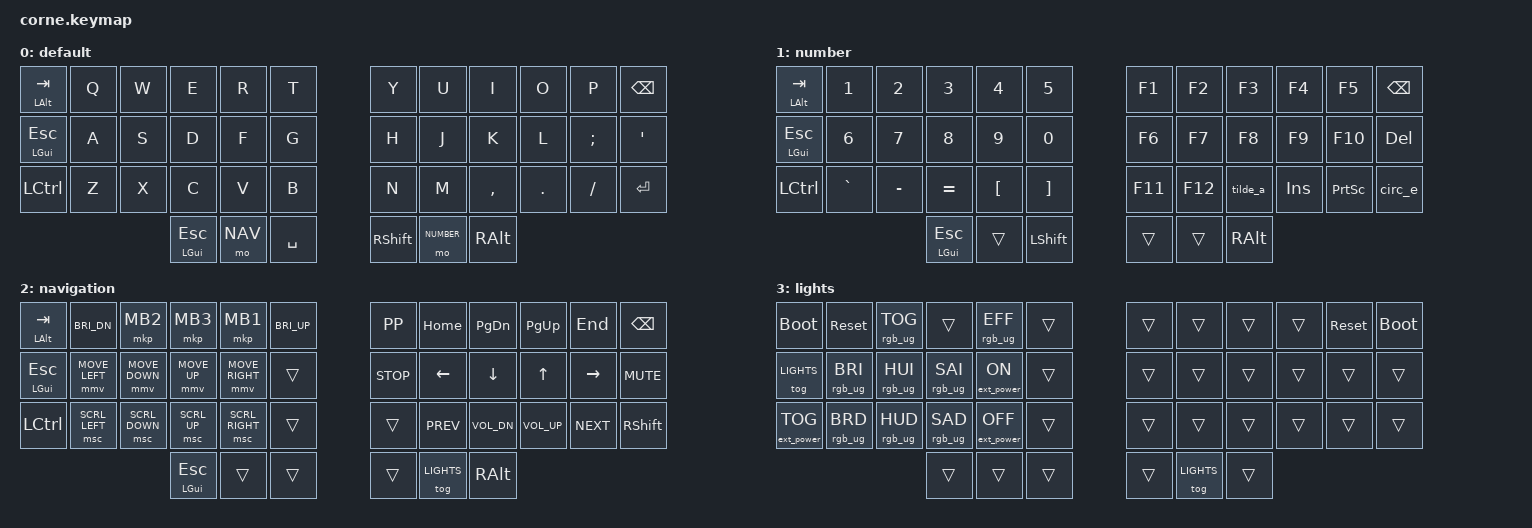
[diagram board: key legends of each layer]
/*
 * Copyright (c) 2020 The ZMK Contributors
 *
 * SPDX-License-Identifier: MIT
 */

// Layers

#define DEFAULT 0
#define NUMBER  1
#define NAV     2
#define LIGHTS  3

#include <behaviors.dtsi>
#include <dt-bindings/zmk/bt.h>
#include <dt-bindings/zmk/ext_power.h>
#include <dt-bindings/zmk/keys.h>
#include <dt-bindings/zmk/mouse.h>
#include <dt-bindings/zmk/rgb.h>

&sk { /delete-property/ ignore-modifiers; };

/ {
    tilde_a: tilde_a_macro {
        compatible = "zmk,behavior-macro";
        label = "TILDE_A";
        #binding-cells = <0>;
        bindings = <&kp RA(LS(GRAVE)) &kp A>;
    };

    tilde_o: tilde_o_macro {
        compatible = "zmk,behavior-macro";
        label = "TILDE_O";
        #binding-cells = <0>;
        bindings = <&kp RA(LS(GRAVE)) &kp O>;
    };

    circ_a: circ_a_macro {
        compatible = "zmk,behavior-macro";
        label = "CIRC_A";
        #binding-cells = <0>;
        bindings = <&kp RA(LS(N6)) &kp A>;
    };

    circ_e: circ_e_macro {
        compatible = "zmk,behavior-macro";
        label = "CIRC_E";
        #binding-cells = <0>;
        bindings = <&kp RA(LS(N6)) &kp E>;
    };

    circ_o: circ_o_macro {
        compatible = "zmk,behavior-macro";
        label = "CIRC_O";
        #binding-cells = <0>;
        bindings = <&kp RA(LS(N6)) &kp O>;
    };

    /*
      KEY POSITIONS
      ╭────────────────────────╮  ╭────────────────────────╮
      │ 0   1   2   3   4   5  │  │ 6   7   8   9   10  11 │
      │ 12  13  14  15  16  17 │  │ 18  19  20  21  22  23 │
      │ 24  25  26  27  28  29 │  │ 30  31  32  33  34  35 │
      ╰───────────╮ 36  37  38 │  │ 39  40  41 ╭───────────╯
                  ╰────────────╯  ╰────────────╯
    */
    combos {
        compatible = "zmk,combos";

        a_acute {
            bindings = <&kp RA(A)>;
            key-positions = <13 26>;
            layers = <0>;
        };

        e_acute {
            bindings = <&kp RA(E)>;
            key-positions = <3 16>;
            layers = <0>;
        };

        i_acute {
            bindings = <&kp RA(I)>;
            key-positions = <8 21>;
            layers = <0>;
        };

        o_acute {
            bindings = <&kp RA(O)>;
            key-positions = <9 10>;
            layers = <0>;
        };

        u_acute {
            bindings = <&kp RA(U)>;
            key-positions = <7 20>;
            layers = <0>;
        };

        a_umlaut {
            bindings = <&kp RA(Q)>;
            key-positions = <13 25>;
            layers = <0>;
        };

        o_umlaut {
            bindings = <&kp RA(P)>;
            key-positions = <9 33>;
            layers = <0>;
        };

        u_umlaut {
            bindings = <&kp RA(Y)>;
            key-positions = <7 21>;
            layers = <0>;
        };

        c_cedilla {
            bindings = <&kp RA(COMMA)>;
            key-positions = <27 32>;
            layers = <0>;
        };

        // Symbol combos on the base layer (Erick Wendel's roBa scheme):
        // vertical top+home column pairs, left hand ! @ # $ %, right hand ^ & * ( )
        cb_excl {
            bindings = <&kp EXCL>;
            key-positions = <1 13>;
            layers = <0>;
            timeout-ms = <30>;
        };

        cb_at {
            bindings = <&kp AT>;
            key-positions = <2 14>;
            layers = <0>;
            timeout-ms = <30>;
        };

        cb_hash {
            bindings = <&kp HASH>;
            key-positions = <3 15>;
            layers = <0>;
            timeout-ms = <30>;
        };

        cb_dllr {
            bindings = <&kp DOLLAR>;
            key-positions = <4 16>;
            layers = <0>;
            timeout-ms = <30>;
        };

        cb_prcnt {
            bindings = <&kp PERCENT>;
            key-positions = <5 17>;
            layers = <0>;
            timeout-ms = <30>;
        };

        cb_caret {
            bindings = <&kp CARET>;
            key-positions = <6 18>;
            layers = <0>;
            timeout-ms = <30>;
        };

        cb_amps {
            bindings = <&kp AMPERSAND>;
            key-positions = <7 19>;
            layers = <0>;
            timeout-ms = <30>;
        };

        cb_star {
            bindings = <&kp STAR>;
            key-positions = <8 20>;
            layers = <0>;
            timeout-ms = <30>;
        };

        cb_lpar {
            bindings = <&kp LPAR>;
            key-positions = <9 21>;
            layers = <0>;
            timeout-ms = <30>;
        };

        cb_rpar {
            bindings = <&kp RPAR>;
            key-positions = <10 22>;
            layers = <0>;
            timeout-ms = <30>;
        };

        excl {
            bindings = <&kp EXCL>;
            key-positions = <1 13>;
            layers = <1>;
        };

        at {
            bindings = <&kp AT>;
            key-positions = <2 14>;
            layers = <1>;
        };

        hash {
            bindings = <&kp HASH>;
            key-positions = <3 15>;
            layers = <1>;
        };

        dollar {
            bindings = <&kp DOLLAR>;
            key-positions = <4 16>;
            layers = <1>;
        };

        percent {
            bindings = <&kp PERCENT>;
            key-positions = <17 5>;
            layers = <1>;
        };

        caret {
            bindings = <&kp CARET>;
            key-positions = <13 25>;
            layers = <1>;
        };

        ampersand {
            bindings = <&kp AMPERSAND>;
            key-positions = <26 14>;
            layers = <1>;
        };

        star {
            bindings = <&kp STAR>;
            key-positions = <27 15>;
            layers = <1>;
        };

        lpar {
            bindings = <&kp LPAR>;
            key-positions = <28 16>;
            layers = <1>;
        };

        rpar {
            bindings = <&kp RPAR>;
            key-positions = <17 29>;
            layers = <1>;
        };

        backslash {
            bindings = <&kp BACKSLASH>;
            key-positions = <28 29>;
            layers = <1>;
            timeout-ms = <50>;
        };

        bt_clear {
            bindings = <&bt BT_CLR>;
            key-positions = <7 8 9 10>;
            layers = <1>;
        };

        bt_sel_0 {
            bindings = <&bt BT_SEL 0>;
            key-positions = <6 18>;
            layers = <1>;
        };

        bt_sel_1 {
            bindings = <&bt BT_SEL 1>;
            key-positions = <7 19>;
            layers = <1>;
        };

        bt_sel_2 {
            bindings = <&bt BT_SEL 2>;
            key-positions = <20 8>;
            layers = <1>;
        };

        bt_sel_3 {
            bindings = <&bt BT_SEL 3>;
            key-positions = <9 21>;
            layers = <1>;
        };

        bt_sel_4 {
            bindings = <&bt BT_SEL 4>;
            key-positions = <10 22>;
            layers = <1>;
        };

        undo {
            bindings = <&kp K_UNDO>;
            key-positions = <18 19>;
            layers = <1>;
        };

        copy {
            bindings = <&kp K_COPY>;
            key-positions = <19 20>;
            layers = <1>;
        };

        cut {
            bindings = <&kp K_CUT>;
            key-positions = <20 21>;
            layers = <1>;
        };

        redo {
            bindings = <&kp K_REDO>;
            key-positions = <21 22>;
            layers = <1>;
        };

        combo_tilde_a {
            timeout-ms = <50>;
            key-positions = <13 27>;
            bindings = <&tilde_a>;
        };

        combo_tilde_o {
            timeout-ms = <50>;
            key-positions = <9 20>;
            bindings = <&tilde_o>;
        };

        combo_circ_a {
            timeout-ms = <50>;
            key-positions = <13 28>;
            bindings = <&circ_a>;
            layers = <0>;
        };

        combo_circ_e {
            timeout-ms = <50>;
            key-positions = <3 17>;
            bindings = <&circ_e>;
            layers = <0>;
        };

        combo_circ_o {
            timeout-ms = <50>;
            key-positions = <9 22>;
            bindings = <&circ_o>;
            layers = <0>;
        };
    };

    keymap {
        compatible = "zmk,keymap";

        default {
// ---------------------------------------------------------------------------------------------------------------------------
// | ALT/TAB |  Q  |  W   |      E       |  R    |    T    |   |     Y    |     U      |    I    |    O    |    P    |  BKSP |
// |    GUI  |  A  |  S   |      D       |  F    |    G    |   |     H    |     J      |    K    |    L    |    ;    |   '   |
// |   CTRL  |  Z  |  X   |      C       |  V    |    B    |   |     N    |     M      |    ,    |    .    |    /    |  ENT  |
//                        |     GUI      | PREV  |  SPACE  |   |  RSHIFT  |    NEXT    |   ALT   |

            bindings = <
&mt LALT TAB  &kp Q  &kp W  &kp E         &kp R    &kp T        &kp Y       &kp U       &kp I      &kp O    &kp P     &kp BSPC
&mt LGUI ESC  &kp A  &kp S  &kp D         &kp F    &kp G        &kp H       &kp J       &kp K      &kp L    &kp SEMI  &kp SQT
&kp LCTRL     &kp Z  &kp X  &kp C         &kp V    &kp B        &kp N       &kp M       &kp COMMA  &kp DOT  &kp FSLH  &kp RET
                            &mt LGUI ESC  &mo NAV  &kp SPACE    &kp RSHIFT  &mo NUMBER  &kp RALT
            >;
        };

        number {
// ------------------------------------------------------------------------------------------------------------------------
// |  ALT/TAB  |    1    |    2    |    3    |      4    |    5    |  |  F1  |   F2  |    F3  |  F4   |   F5    |   BKSP  |
// |     GUI   |    6    |    7    |    8    |      9    |    0    |  |  F6  |   F7  |    F8  |  F9   |  F10    |   DEL   |
// |    CTRL   |    `    |    -    |    =    |      [    |    ]    |  | F11  |  F12  |    ã   |  INS  |  PSCRN  |    ê    |
//                                 |   GUI   |    PREV   |  SHIFT  |  |      |  NEXT |   ALT  |

            bindings = <
&mt LALT TAB  &kp N1     &kp N2     &kp N3        &kp N4       &kp N5        &kp F1   &kp F2   &kp F3      &kp F4   &kp F5     &kp BSPC
&mt LGUI ESC  &kp N6     &kp N7     &kp N8        &kp N9       &kp N0        &kp F6   &kp F7   &kp F8      &kp F9   &kp F10    &kp DEL
&kp LCTRL     &kp GRAVE  &kp MINUS  &kp EQUAL     &kp LBKT     &kp RBKT      &kp F11  &kp F12  &tilde_a    &kp INS  &kp PSCRN  &circ_e
                                    &mt LGUI ESC  &trans       &kp LSHIFT    &trans   &trans   &kp RALT
            >;
        };

        navigation {
// ---------------------------------------------------------------------------------------------------------------------------------------------------------------------
// | ALT/TAB |   BGDOWN     |    BTN2       |    BTN3    |      BTN1       |    BGUP     |  |   PLAY   |     HOME   | PAGE DOWN   |   PAGE UP   |    END    |   BKSP   |
// |    GUI  |   MOUSE LF   |   MOUSE DN    |  MOUSE UP  |    MOUSE RT     |             |  |   STOP   |     LEFT   |    DOWN     |      UP     |   RIGHT   |   MUTE   |
// |   CTRL  |   WHEEL LF   |   WHEEL DN    |  WHEEL UP  |    WHEEL RT     |             |  |          |   PREV TR  |  VOL DOWN   |    VOL UP   |  NEXT TR  |   SHFT   |
//                                          |    GUI     |      PREV       |             |  |          |   LIGHTS   |     ALT     |

            bindings = <
&mt LALT TAB  &kp C_BRI_DN    &mkp MB2        &mkp MB3      &mkp MB1         &kp C_BRI_UP    &kp K_PP    &kp HOME     &kp PG_DN     &kp PG_UP     &kp END     &kp BSPC
&mt LGUI ESC  &mmv MOVE_LEFT  &mmv MOVE_DOWN  &mmv MOVE_UP  &mmv MOVE_RIGHT  &trans          &kp C_STOP  &kp LEFT     &kp DOWN      &kp UP        &kp RIGHT   &kp C_MUTE
&kp LCTRL     &msc SCRL_LEFT  &msc SCRL_DOWN  &msc SCRL_UP  &msc SCRL_RIGHT  &trans          &trans      &kp C_PREV   &kp C_VOL_DN  &kp C_VOL_UP  &kp C_NEXT  &kp RSHIFT
                                              &mt LGUI ESC  &trans           &trans          &trans      &tog LIGHTS  &kp RALT
            >;
        };

        lights {
// ----------------------------------------------------------------------------------------------------------------------------------------------------
// | BOOTLOADER |    RESET    |   RGB TG   |             |  RGB EFF   |           |  |        |        |          |       |    RESET   | BOOTLOADER |
// |   LIGHTS   |  RGB BRI+   |   RGB HUE+ |   RGB SAT+  |   EP ON    |           |  |        |        |          |       |            |            |
// |   EP TOG   |  RGB BRI-   |   RGB HUE- |   RGB SAT-  |   EP OFF   |           |  |        |        |          |       |            |            |
//                                         |             |            |           |  |        | LIGHTS |          |

            bindings = <
&bootloader        &sys_reset       &rgb_ug RGB_TOG  &trans           &rgb_ug RGB_EFF    &trans  &trans  &trans       &trans  &trans  &sys_reset  &bootloader
&tog LIGHTS        &rgb_ug RGB_BRI  &rgb_ug RGB_HUI  &rgb_ug RGB_SAI  &ext_power EP_ON   &trans  &trans  &trans       &trans  &trans  &trans      &trans
&ext_power EP_TOG  &rgb_ug RGB_BRD  &rgb_ug RGB_HUD  &rgb_ug RGB_SAD  &ext_power EP_OFF  &trans  &trans  &trans       &trans  &trans  &trans      &trans
                                                     &trans           &trans             &trans  &trans  &tog LIGHTS  &trans
            >;
        };
    };
};
